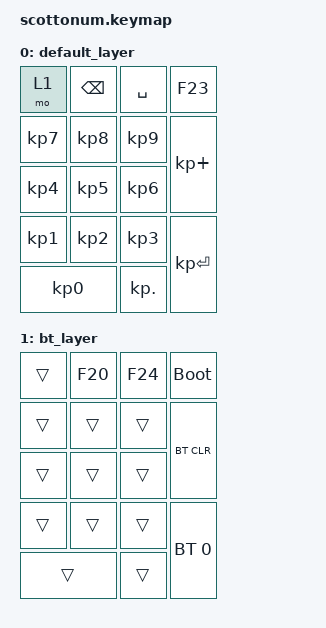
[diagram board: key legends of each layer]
#include <behaviors.dtsi>
#include <dt-bindings/zmk/bt.h>
#include <dt-bindings/zmk/keys.h>

/ {
    keymap {
        compatible = "zmk,keymap";

        default_layer {
            bindings = <
&mo 1      &kp BACKSPACE  &kp SPACE  &kp F23
&kp KP_N7  &kp KP_N8      &kp KP_N9  &kp KP_PLUS
&kp KP_N4  &kp KP_N5      &kp KP_N6
&kp KP_N1  &kp KP_N2      &kp KP_N3  &kp KP_ENTER
&kp KP_N0  &kp KP_DOT
            >;
        };

        bt_layer {
            bindings = <
&trans  &kp F20  &kp F24  &bootloader
&trans  &trans   &trans   &bt BT_CLR
&trans  &trans   &trans
&trans  &trans   &trans   &bt BT_SEL 0
&trans  &trans
            >;
        };
    };
};
